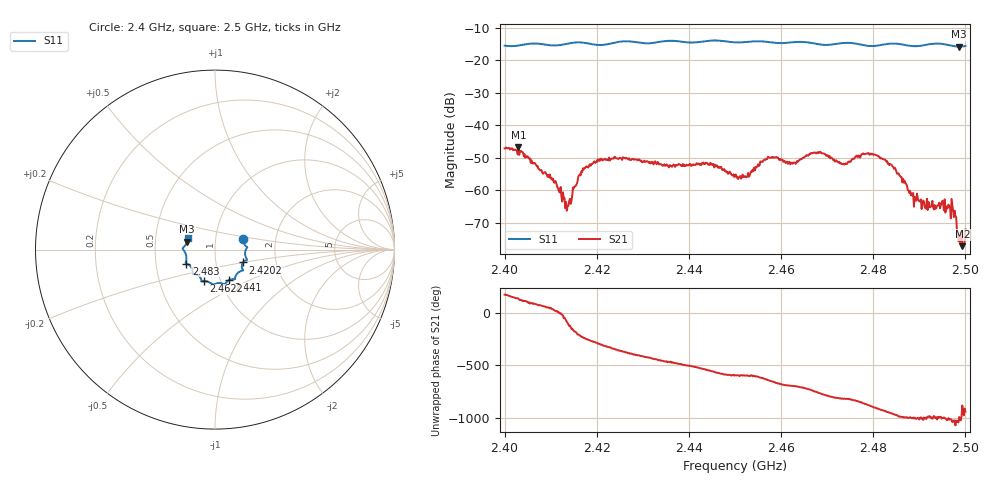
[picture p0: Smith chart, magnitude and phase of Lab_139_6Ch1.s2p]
# Hz S RI R 50
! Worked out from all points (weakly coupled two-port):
!   601 points, 2.4 GHz to 2.5 GHz, reference 50 ohm
!   highest |S21| = -46.83 dB at 2.403 GHz (marker M1); lowest = -77.2 dB at 2.4993 GHz (marker M2)
!   lowest |S11| = -15.8 dB at 2.4987 GHz (marker M3), VSWR 1.39, Z = 36.4 + j3.33 ohm
!   |S11| at or under -10 dB: start of sweep to end of sweep
!   S12 and S22 are empty: the file has one direction only
!   S11 on the Smith chart (normalised r, x): 2.4 GHz: 1.36, +0.17; 2.4202 GHz: 1.35, -0.20; 2.441 GHz: 1.09, -0.39; 2.4622 GHz: 0.83, -0.30; 2.483 GHz: 0.72, -0.12; 2.5 GHz: 0.73, +0.09
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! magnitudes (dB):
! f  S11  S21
! 2.4 GHz  -15.5  -47.1
! 2.403 GHz  -15.5  -46.8
! 2.4107 GHz  -15.5  -57.6
! 2.4135 GHz  -14.9  -66.3
! 2.4167 GHz  -14.6  -54.2
! 2.4202 GHz  -15.3  -50.6
! 2.4333 GHz  -14.4  -51.5
! 2.441 GHz  -14.6  -52.0
! 2.45 GHz  -14.5  -55.3
! 2.4577 GHz  -14.5  -50.1
! 2.4622 GHz  -14.5  -51.6
! 2.4667 GHz  -14.7  -48.6
! 2.4733 GHz  -14.7  -52.0
! 2.4785 GHz  -15.5  -48.7
! 2.483 GHz  -15.0  -51.0
! 2.4833 GHz  -15.0  -51.8
! 2.491 GHz  -15.4  -63.4
! 2.4968 GHz  -15.5  -68.6
! 2.4975 GHz  -15.7  -68.3
! 2.4987 GHz  -15.8  -75.6
! 2.4993 GHz  -15.8  -77.2
! 2.5 GHz  -15.6  -72.1
